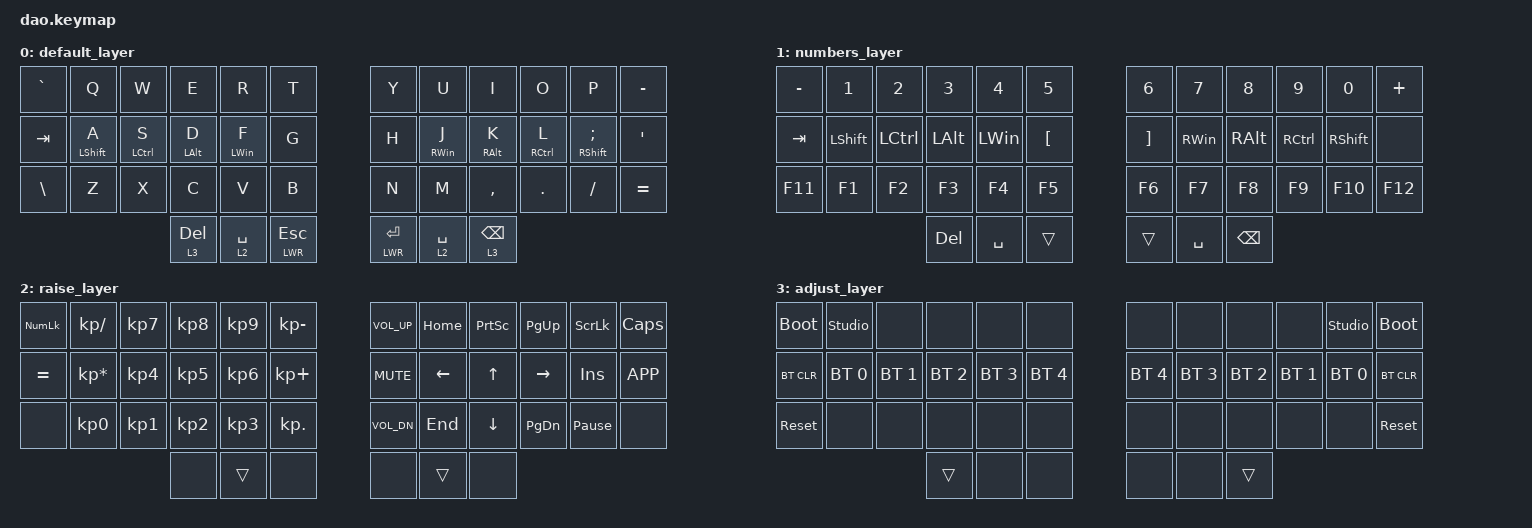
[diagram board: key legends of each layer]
/*
 * Copyright (c) 2021 Rafael Yumagulov
 *
 * SPDX-License-Identifier: MIT
 */

#include <behaviors.dtsi>
#include <dt-bindings/zmk/bt.h>
#include <dt-bindings/zmk/keys.h>

#define DEF 0
#define LWR 1
#define RSE 2
#define ADJ 3

&lt { quick_tap_ms = <200>; };

&mt { quick_tap_ms = <200>; };

/ {
    chosen {
        zmk,physical_layout = &dao_crkbd_layout;

        // zmk,physical_layout = &dao_full_layout;
    };
};

/ {
    keymap {
        compatible = "zmk,keymap";

        default_layer {
            bindings = <
&kp GRAVE  &kp Q         &kp W        &kp E       &kp R        &kp T        &kp Y        &kp U        &kp I       &kp O        &kp P            &kp MINUS
&kp TAB    &mt LSHIFT A  &mt LCTRL S  &mt LALT D  &mt LWIN F   &kp G        &kp H        &mt RWIN J   &mt RALT K  &mt RCTRL L  &mt RSHIFT SEMI  &kp SQT
&kp BSLH   &kp Z         &kp X        &kp C       &kp V        &kp B        &kp N        &kp M        &kp COMMA   &kp DOT      &kp FSLH         &kp EQUAL
                                      &lt 3 DEL   &lt 2 SPACE  &lt LWR ESC  &lt LWR RET  &lt 2 SPACE  &lt 3 BSPC
            >;
        };

        numbers_layer {
            bindings = <
&kp MINUS  &kp N1      &kp N2     &kp N3    &kp N4     &kp N5    &kp N6    &kp N7     &kp N8    &kp N9     &kp N0      &kp PLUS
&kp TAB    &kp LSHIFT  &kp LCTRL  &kp LALT  &kp LWIN   &kp LBKT  &kp RBKT  &kp RWIN   &kp RALT  &kp RCTRL  &kp RSHIFT  &none
&kp F11    &kp F1      &kp F2     &kp F3    &kp F4     &kp F5    &kp F6    &kp F7     &kp F8    &kp F9     &kp F10     &kp F12
                                  &kp DEL   &kp SPACE  &trans    &trans    &kp SPACE  &kp BSPC
            >;
        };

        raise_layer {
            bindings = <
&kp KP_NUM  &kp KP_SLASH     &kp KP_N7  &kp KP_N8  &kp KP_N9  &kp KP_MINUS  &kp C_VOL_UP  &kp HOME  &kp PSCRN  &kp PG_UP  &kp SLCK         &kp CLCK
&kp EQUAL   &kp KP_MULTIPLY  &kp KP_N4  &kp KP_N5  &kp KP_N6  &kp KP_PLUS   &kp C_MUTE    &kp LEFT  &kp UP     &kp RIGHT  &kp INS          &kp K_APP
&none       &kp KP_N0        &kp KP_N1  &kp KP_N2  &kp KP_N3  &kp KP_DOT    &kp C_VOL_DN  &kp END   &kp DOWN   &kp PG_DN  &kp PAUSE_BREAK  &none
                                        &none      &trans     &none         &none         &trans    &none
            >;
        };

        adjust_layer {
            bindings = <
&bootloader  &studio_unlock  &none         &none         &none         &none         &none         &none         &none         &none         &studio_unlock  &bootloader
&bt BT_CLR   &bt BT_SEL 0    &bt BT_SEL 1  &bt BT_SEL 2  &bt BT_SEL 3  &bt BT_SEL 4  &bt BT_SEL 4  &bt BT_SEL 3  &bt BT_SEL 2  &bt BT_SEL 1  &bt BT_SEL 0    &bt BT_CLR
&sys_reset   &none           &none         &none         &none         &none         &none         &none         &none         &none         &none           &sys_reset
                                           &trans        &none         &none         &none         &none         &trans
            >;
        };
    };
};
